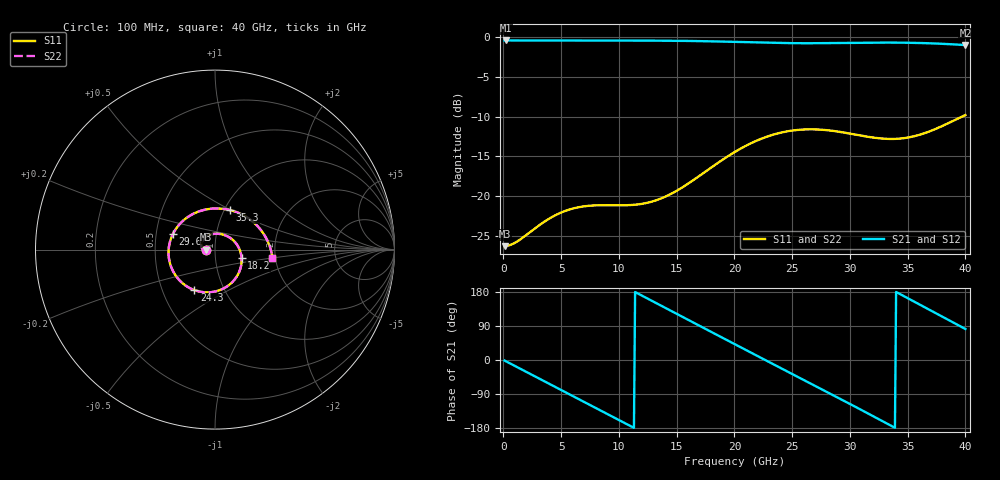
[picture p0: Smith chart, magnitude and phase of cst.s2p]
! P_ts6_pad: 0402 capacitor pad (0.56 × 0.62 mm) on a 50 Ω microstrip, plane intact
! stackup: ThunderScope Rev5.3 6-layer (FR408HR / FR-4, from the board file)
! ports: 1, 2
! CST Studio Suite 2025.5 Release from 2025-05-30, time domain (FIT, hexahedral, PBA), 91553 mesh cells, 20 s
! mesh: {'lpw': 20, 'lpb': 20, 'minstep': 0.0, 'ratio': 20}; ports: port 1 (face); port 2 (face)
! interpolated from CST's 1001 samples to the case grid
# Hz S RI R 50
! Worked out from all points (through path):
!   400 points, 100 MHz to 40 GHz, reference 50 ohm
!   highest |S21| = -0.43 dB at 200 MHz (marker M1); lowest = -1.0 dB at 40 GHz (marker M2)
!   group delay of S21, straight-line fit = 44.2 ps
!   lowest |S11| = -26.3 dB at 100 MHz (marker M3), VSWR 1.10, Z = 45.4 - j0.0378 ohm
!   |S11| at or under -10 dB: start of sweep to 39.72 GHz
!   |S22| runs from -26.3 to -9.8 dB; largest |S21 - S12| = 4.2e-07
!   S11 on the Smith chart (normalised r, x): 100 MHz: 0.91, -0.00; 18.2 GHz: 1.34, -0.13; 24.3 GHz: 0.72, -0.35; 29.6 GHz: 0.61, +0.11; 35.3 GHz: 1.07, +0.50; 40 GHz: 1.93, -0.20
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1e8  -0.0485 -0.000416  0.9512 -0.0263  0.9512 -0.0263  -0.0485 -0.000416
2e8  -0.0485 -0.000829  0.9501 -0.0526  0.9501 -0.0526  -0.0485 -0.000829
1.9e9  -0.0562 -0.00467  0.8231 -0.4769  0.8231 -0.4769  -0.0562 -0.00467
3.8e9  -0.0708 0.0053  0.4732 -0.8248  0.4732 -0.8248  -0.0708 0.0053
5.3e9  -0.0767 0.0245  0.101 -0.9453  0.101 -0.9453  -0.0767 0.0245
6.8e9  -0.0713 0.0479  -0.2882 -0.9058  -0.2882 -0.9058  -0.0713 0.0479
8.7e9  -0.0486 0.073  -0.7038 -0.6388  -0.7038 -0.6388  -0.0486 0.073
1.03e10  -0.0207 0.0851  -0.9095 -0.275  -0.9095 -0.275  -0.0207 0.0851
1.18e10  0.00961 0.0885  -0.9426 0.1162  -0.9426 0.1162  0.00961 0.0885
1.34e10  0.0464 0.0831  -0.8 0.5101  -0.8 0.5101  0.0464 0.0831
1.59e10  0.1106 0.0428  -0.2853 0.9012  -0.2853 0.9012  0.1106 0.0428
1.82e10  0.148 -0.0462  0.3084 0.8868  0.3084 0.8868  0.148 -0.0462
2.01e10  0.125 -0.1441  0.7075 0.6057  0.7075 0.6057  0.125 -0.1441
2.22e10  0.0261 -0.226  0.9151 0.1175  0.9151 0.1175  0.0261 -0.226
2.43e10  -0.1149 -0.2256  0.8252 -0.3979  0.8252 -0.3979  -0.1149 -0.2256
2.67e10  -0.238 -0.1118  0.4081 -0.8181  0.4081 -0.8181  -0.238 -0.1118
2.96e10  -0.2345 0.087  -0.3064 -0.8658  -0.3064 -0.8658  -0.2345 0.087
3.17e10  -0.14 0.189  -0.7384 -0.5521  -0.7384 -0.5521  -0.14 0.189
3.34e10  -0.0376 0.2258  -0.9107 -0.1483  -0.9107 -0.1483  -0.0376 0.2258
3.53e10  0.0852 0.2196  -0.8546 0.3401  -0.8546 0.3401  0.0852 0.2196
3.78e10  0.2404 0.1269  -0.4193 0.8054  -0.4193 0.8054  0.2404 0.1269
4e10  0.3201 -0.0463  0.1265 0.8809  0.1265 0.8809  0.3201 -0.0463
